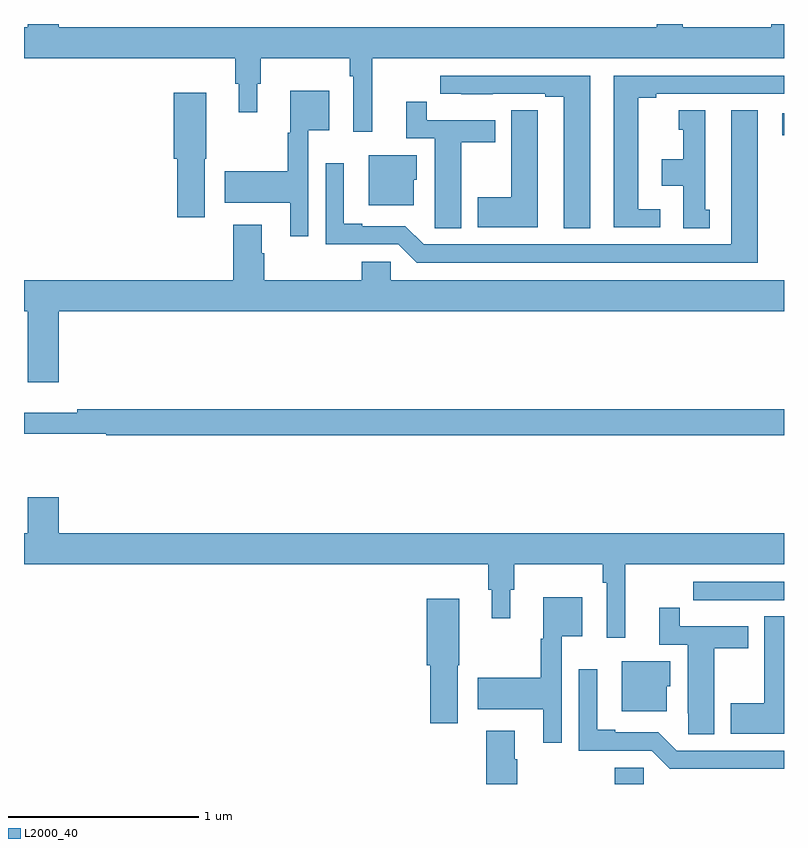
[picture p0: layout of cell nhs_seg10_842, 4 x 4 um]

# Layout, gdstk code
import gdstk
lib = gdstk.Library(unit=1e-6, precision=1e-09)
def R(c, l, rs):  # rectangles x0, y0, x1, y1
    for r in rs: c.add(gdstk.rectangle(r[:2], r[2:], *l))
def P(c, l, *ps):  # polygons
    for p in ps: c.add(gdstk.Polygon(p, *l))
L2000_40 = (2000, 40)

nhs_seg10_842 = lib.new_cell('nhs_seg10_842')
R(nhs_seg10_842, L2000_40, [(156.11,1292.5,156.261,1292.586), (156.99,1295.914,157,1296.03)])
P(nhs_seg10_842, L2000_40, [(154.832,1296.32),(157,1296.32),(157,1296.5),(156.934,1296.5),(156.934,1296.484),(156.467,1296.484),(156.467,1296.5),(156.331,1296.5),(156.331,1296.484),(153.184,1296.484),(153.184,1296.5),(153.02,1296.5),(153.02,1296.484),(153,1296.484),(153,1296.32),(154.111,1296.32),(154.111,1296.186),(154.13,1296.186),(154.13,1296.036),(154.228,1296.036),(154.228,1296.186),(154.247,1296.186),(154.247,1296.32),(154.714,1296.32),(154.714,1296.224),(154.734,1296.224),(154.734,1295.934),(154.832,1295.934)],
  [(156.349,1295.526),(156.232,1295.526),(156.232,1296.112),(156.328,1296.112),(156.328,1296.132),(157,1296.132),(157,1296.228),(156.104,1296.228),(156.104,1295.43),(156.349,1295.43)],
  [(155.98,1296.228),(155.19,1296.228),(155.19,1296.132),(155.302,1296.132),(155.302,1296.131),(155.468,1296.131),(155.468,1296.132),(155.744,1296.132),(155.744,1296.117),(155.84,1296.117),(155.84,1295.425),(155.98,1295.425)],
  [(154.497,1295.942),(154.606,1295.942),(154.606,1296.148),(154.4,1296.148),(154.4,1295.928),(154.389,1295.928),(154.389,1295.724),(154.056,1295.724),(154.056,1295.558),(154.4,1295.558),(154.4,1295.382),(154.497,1295.382)],
  [(153.952,1295.79),(153.958,1295.79),(153.958,1296.139),(153.788,1296.139),(153.788,1295.79),(153.806,1295.79),(153.806,1295.484),(153.952,1295.484)],
  [(155.302,1295.878),(155.479,1295.878),(155.479,1295.994),(155.12,1295.994),(155.12,1296.091),(155.012,1296.091),(155.012,1295.898),(155.162,1295.898),(155.162,1295.536),(155.163,1295.536),(155.163,1295.425),(155.302,1295.425)],
  [(155.704,1295.939),(155.703,1295.939),(155.703,1296.047),(155.564,1296.047),(155.564,1295.589),(155.387,1295.589),(155.387,1295.429),(155.704,1295.429)],
  [(156.862,1296.046),(156.722,1296.046),(156.722,1295.34),(155.103,1295.34),(155.007,1295.436),(154.78,1295.436),(154.78,1295.449),(154.684,1295.449),(154.684,1295.767),(154.587,1295.767),(154.587,1295.34),(154.971,1295.34),(155.067,1295.244),(156.862,1295.244)],
  [(156.61,1295.523),(156.586,1295.523),(156.586,1296.046),(156.446,1296.046),(156.446,1295.943),(156.47,1295.943),(156.47,1295.788),(156.356,1295.788),(156.356,1295.648),(156.47,1295.648),(156.47,1295.425),(156.61,1295.425)],
  [(155.05,1295.679),(155.068,1295.679),(155.068,1295.809),(154.814,1295.809),(154.814,1295.546),(155.05,1295.546)],
  [(153.184,1294.988),(157,1294.988),(157,1295.152),(154.929,1295.152),(154.929,1295.25),(154.778,1295.25),(154.778,1295.152),(154.265,1295.152),(154.265,1295.294),(154.252,1295.294),(154.252,1295.443),(154.1,1295.443),(154.1,1295.152),(153,1295.152),(153,1294.988),(153.02,1294.988),(153.02,1294.614),(153.184,1294.614)],
  [(157,1294.472),(153.28,1294.472),(153.28,1294.453),(153,1294.453),(153,1294.344),(153.434,1294.344),(153.434,1294.336),(157,1294.336)],
  [(156.164,1293.656),(157,1293.656),(157,1293.82),(153.184,1293.82),(153.184,1294.009),(153.02,1294.009),(153.02,1293.82),(153,1293.82),(153,1293.656),(155.443,1293.656),(155.443,1293.522),(155.462,1293.522),(155.462,1293.372),(155.56,1293.372),(155.56,1293.522),(155.579,1293.522),(155.579,1293.656),(156.046,1293.656),(156.046,1293.56),(156.066,1293.56),(156.066,1293.27),(156.164,1293.27)],
  [(156.8,1293.468),(157,1293.468),(157,1293.564),(156.522,1293.564),(156.522,1293.468),(156.634,1293.468),(156.634,1293.467),(156.8,1293.467)],
  [(155.829,1293.278),(155.938,1293.278),(155.938,1293.484),(155.732,1293.484),(155.732,1293.264),(155.721,1293.264),(155.721,1293.06),(155.388,1293.06),(155.388,1292.894),(155.732,1292.894),(155.732,1292.718),(155.829,1292.718)],
  [(155.284,1293.126),(155.29,1293.126),(155.29,1293.475),(155.12,1293.475),(155.12,1293.126),(155.138,1293.126),(155.138,1292.82),(155.284,1292.82)],
  [(156.634,1293.214),(156.811,1293.214),(156.811,1293.33),(156.452,1293.33),(156.452,1293.427),(156.344,1293.427),(156.344,1293.234),(156.494,1293.234),(156.494,1292.872),(156.495,1292.872),(156.495,1292.761),(156.634,1292.761)],
  [(157,1293.383),(156.896,1293.383),(156.896,1292.925),(156.719,1292.925),(156.719,1292.765),(157,1292.765)],
  [(156.382,1293.015),(156.4,1293.015),(156.4,1293.145),(156.146,1293.145),(156.146,1292.882),(156.382,1292.882)],
  [(157,1292.676),(156.435,1292.676),(156.339,1292.772),(156.112,1292.772),(156.112,1292.785),(156.016,1292.785),(156.016,1293.103),(155.919,1293.103),(155.919,1292.676),(156.303,1292.676),(156.399,1292.58),(157,1292.58)],
  [(155.597,1292.63),(155.584,1292.63),(155.584,1292.779),(155.432,1292.779),(155.432,1292.5),(155.597,1292.5)])

lib.write_gds('nhs_seg10_842.gds')
